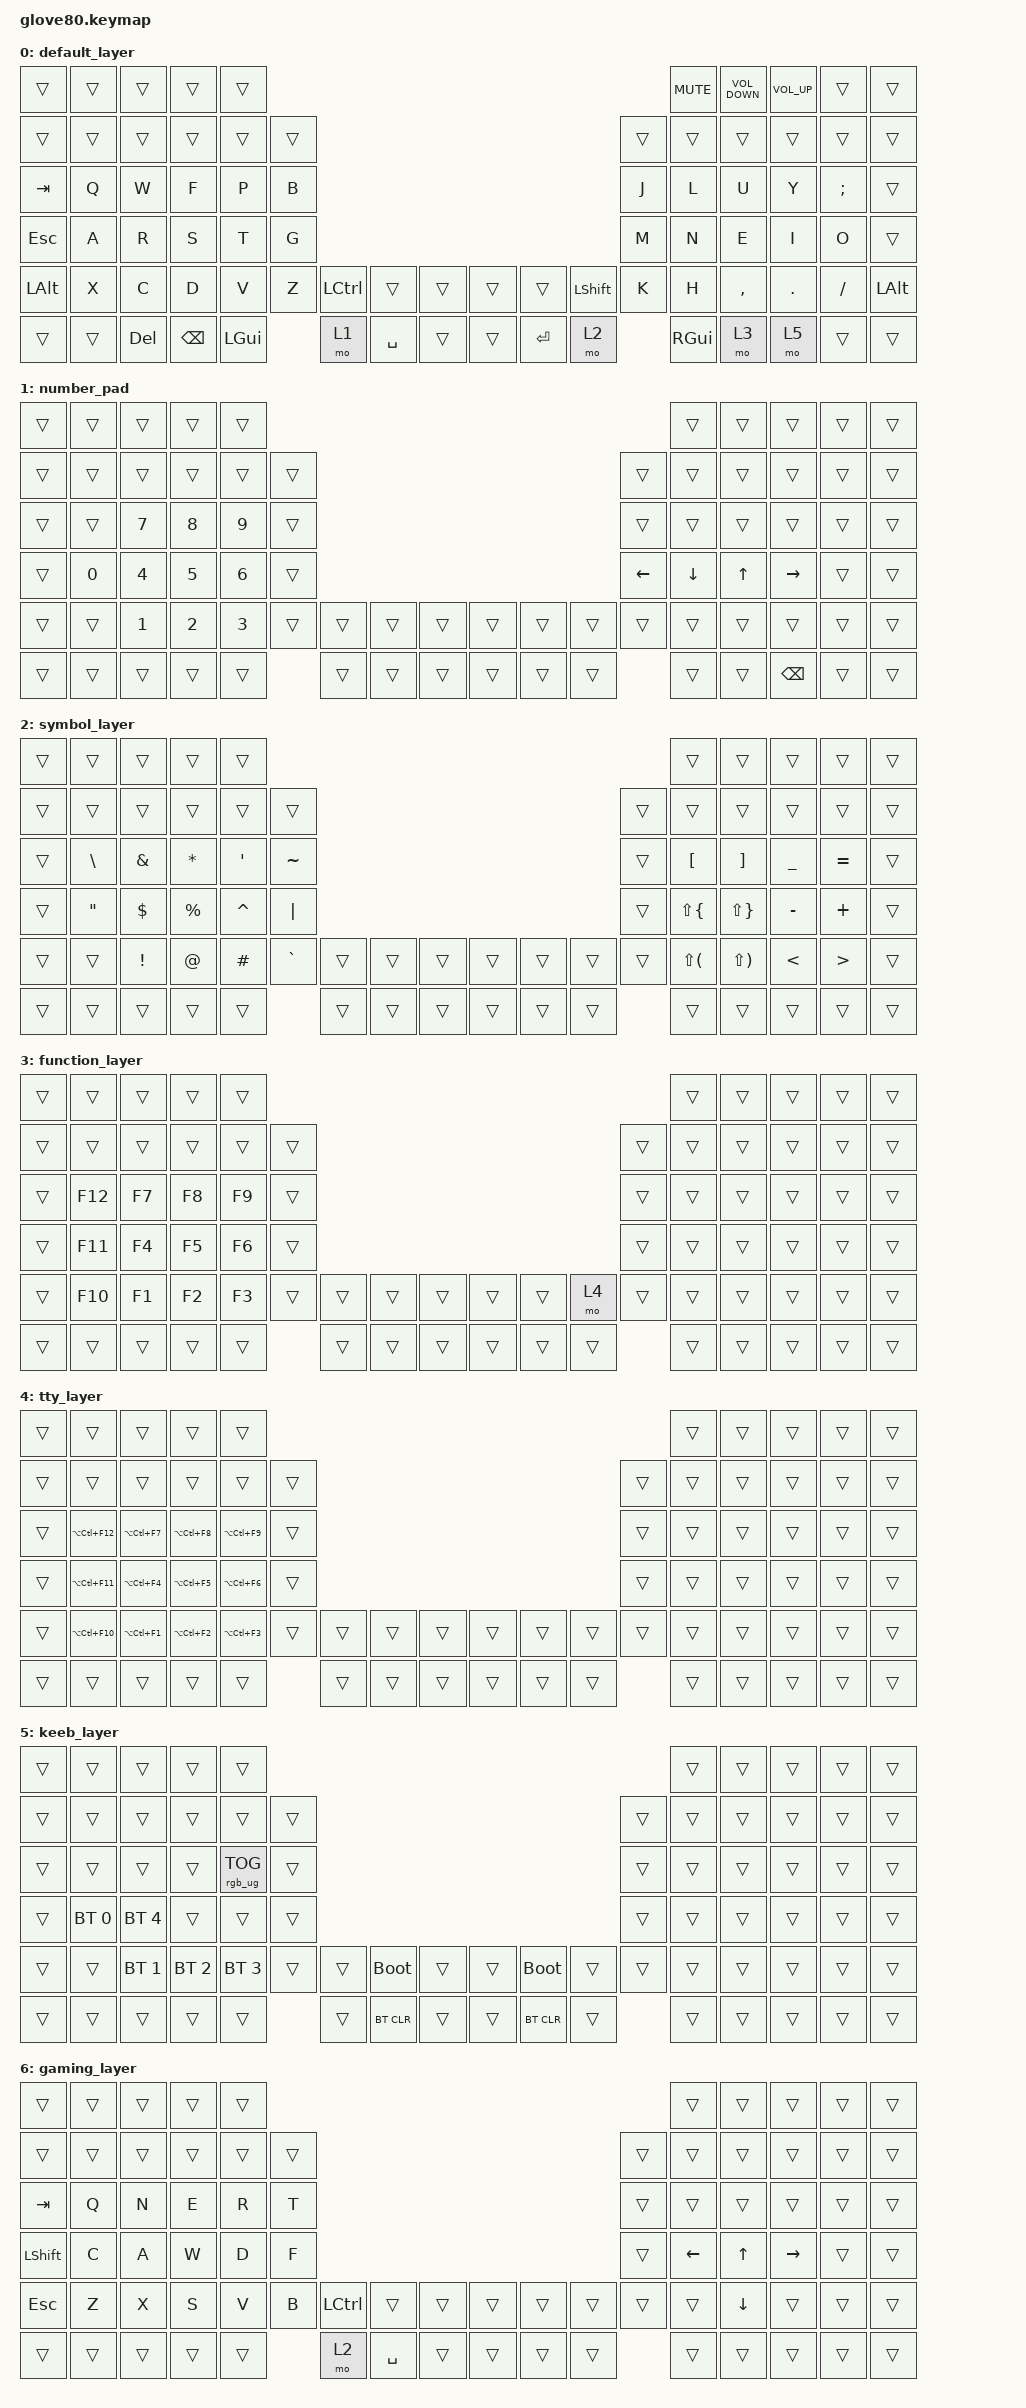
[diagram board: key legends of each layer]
/*
 * Copyright (c) 2020 The ZMK Contributors
 *
 * SPDX-License-Identifier: MIT
 */

#include <behaviors.dtsi>
#include <dt-bindings/zmk/bt.h>
#include <dt-bindings/zmk/keys.h>
#include <dt-bindings/zmk/rgb.h>

// layers

#define DEFAULT 0
#define LOWER 1
#define MAGIC 2

/ {
    behaviors {
        // For the "layer" key, it'd nice to be able to use it as either a shift or a toggle.
        // Configure it as a tap dance, so the first tap (or hold) is a &mo and the second tap is a &to

        layer_td: tap_dance_0 {
            compatible = "zmk,behavior-tap-dance";
            #binding-cells = <0>;
            tapping-term-ms = <200>;
            bindings = <&mo 0>, <&to 0>;
        };
    };

    combos {
        compatible = "zmk,combos";

        toGamingLayer {
            bindings = <&tog 3>;
            key-positions = <64 79>;
        };
    };

    keymap {
        compatible = "zmk,keymap";

        default_layer {
            bindings = <
&trans    &trans  &trans      &trans         &trans                                                                                                  &kp C_MUTE     &kp C_VOLUME_DOWN  &kp C_VOLUME_UP  &trans    &trans
&trans    &trans  &trans      &trans         &trans        &trans                                                                            &trans  &trans         &trans             &trans           &trans    &trans
&kp TAB   &kp Q   &kp W       &kp F          &kp P         &kp B                                                                             &kp J   &kp L          &kp U              &kp Y            &kp SEMI  &trans
&kp ESC   &kp A   &kp R       &kp S          &kp T         &kp G                                                                             &kp M   &kp N          &kp E              &kp I            &kp O     &trans
&kp LALT  &kp X   &kp C       &kp D          &kp V         &kp Z   &kp LEFT_CONTROL  &trans     &trans    &trans  &trans     &kp LEFT_SHIFT  &kp K   &kp H          &kp COMMA          &kp DOT          &kp FSLH  &kp LALT
&trans    &trans  &kp DELETE  &kp BACKSPACE  &kp LEFT_GUI          &mo 1             &kp SPACE  &trans    &trans  &kp ENTER  &mo 2                   &kp RIGHT_GUI  &mo 3              &mo 5            &trans    &trans
            >;
        };

        number_pad {
            bindings = <
&trans  &trans  &trans  &trans  &trans                                                                      &trans    &trans  &trans         &trans  &trans
&trans  &trans  &trans  &trans  &trans  &trans                                                    &trans    &trans    &trans  &trans         &trans  &trans
&trans  &trans  &kp N7  &kp N8  &kp N9  &trans                                                    &trans    &trans    &trans  &trans         &trans  &trans
&trans  &kp N0  &kp N4  &kp N5  &kp N6  &trans                                                    &kp LEFT  &kp DOWN  &kp UP  &kp RIGHT      &trans  &trans
&trans  &trans  &kp N1  &kp N2  &kp N3  &trans  &trans  &trans  &trans    &trans  &trans  &trans  &trans    &trans    &trans  &trans         &trans  &trans
&trans  &trans  &trans  &trans  &trans          &trans  &trans  &trans    &trans  &trans  &trans            &trans    &trans  &kp BACKSPACE  &trans  &trans
            >;
        };

        symbol_layer {
            bindings = <
&trans  &trans             &trans           &trans       &trans                                                                          &trans        &trans        &trans         &trans            &trans
&trans  &trans             &trans           &trans       &trans     &trans                                                       &trans  &trans        &trans        &trans         &trans            &trans
&trans  &kp BACKSLASH      &kp AMPERSAND    &kp STAR     &kp SQT    &kp TILDE                                                    &trans  &kp LBKT      &kp RBKT      &kp UNDER      &kp EQUAL         &trans
&trans  &kp DOUBLE_QUOTES  &kp DOLLAR       &kp PERCENT  &kp CARET  &kp PIPE                                                     &trans  &kp LS(LBRC)  &kp LS(RBRC)  &kp MINUS      &kp PLUS          &trans
&trans  &trans             &kp EXCLAMATION  &kp AT_SIGN  &kp HASH   &kp GRAVE  &trans  &trans  &trans    &trans  &trans  &trans  &trans  &kp LS(LPAR)  &kp LS(RPAR)  &kp LESS_THAN  &kp GREATER_THAN  &trans
&trans  &trans             &trans           &trans       &trans                &trans  &trans  &trans    &trans  &trans  &trans          &trans        &trans        &trans         &trans            &trans
            >;
        };

        function_layer {
            bindings = <
&trans  &trans   &trans  &trans  &trans                                                                    &trans  &trans  &trans  &trans  &trans
&trans  &trans   &trans  &trans  &trans  &trans                                                    &trans  &trans  &trans  &trans  &trans  &trans
&trans  &kp F12  &kp F7  &kp F8  &kp F9  &trans                                                    &trans  &trans  &trans  &trans  &trans  &trans
&trans  &kp F11  &kp F4  &kp F5  &kp F6  &trans                                                    &trans  &trans  &trans  &trans  &trans  &trans
&trans  &kp F10  &kp F1  &kp F2  &kp F3  &trans  &trans  &trans  &trans    &trans  &trans  &mo 4   &trans  &trans  &trans  &trans  &trans  &trans
&trans  &trans   &trans  &trans  &trans          &trans  &trans  &trans    &trans  &trans  &trans          &trans  &trans  &trans  &trans  &trans
            >;
        };

        tty_layer {
            bindings = <
&trans  &trans           &trans          &trans          &trans                                                                            &trans  &trans  &trans  &trans  &trans
&trans  &trans           &trans          &trans          &trans          &trans                                                    &trans  &trans  &trans  &trans  &trans  &trans
&trans  &kp LA(LC(F12))  &kp LA(LC(F7))  &kp LA(LC(F8))  &kp LA(LC(F9))  &trans                                                    &trans  &trans  &trans  &trans  &trans  &trans
&trans  &kp LA(LC(F11))  &kp LA(LC(F4))  &kp LA(LC(F5))  &kp LA(LC(F6))  &trans                                                    &trans  &trans  &trans  &trans  &trans  &trans
&trans  &kp LA(LC(F10))  &kp LA(LC(F1))  &kp LA(LC(F2))  &kp LA(LC(F3))  &trans  &trans  &trans  &trans    &trans  &trans  &trans  &trans  &trans  &trans  &trans  &trans  &trans
&trans  &trans           &trans          &trans          &trans                  &trans  &trans  &trans    &trans  &trans  &trans          &trans  &trans  &trans  &trans  &trans
            >;
        };

        keeb_layer {
            bindings = <
&trans  &trans        &trans        &trans        &trans                                                                                       &trans  &trans  &trans  &trans  &trans
&trans  &trans        &trans        &trans        &trans           &trans                                                              &trans  &trans  &trans  &trans  &trans  &trans
&trans  &trans        &trans        &trans        &rgb_ug RGB_TOG  &trans                                                              &trans  &trans  &trans  &trans  &trans  &trans
&trans  &bt BT_SEL 0  &bt BT_SEL 4  &trans        &trans           &trans                                                              &trans  &trans  &trans  &trans  &trans  &trans
&trans  &trans        &bt BT_SEL 1  &bt BT_SEL 2  &bt BT_SEL 3     &trans  &trans  &bootloader  &trans    &trans  &bootloader  &trans  &trans  &trans  &trans  &trans  &trans  &trans
&trans  &trans        &trans        &trans        &trans                   &trans  &bt BT_CLR   &trans    &trans  &bt BT_CLR   &trans          &trans  &trans  &trans  &trans  &trans
            >;
        };

        gaming_layer {
            bindings = <
&trans     &trans  &trans  &trans  &trans                                                                          &trans    &trans        &trans     &trans  &trans
&trans     &trans  &trans  &trans  &trans  &trans                                                          &trans  &trans    &trans        &trans     &trans  &trans
&kp TAB    &kp Q   &kp N   &kp E   &kp R   &kp T                                                           &trans  &trans    &trans        &trans     &trans  &trans
&kp LSHFT  &kp C   &kp A   &kp W   &kp D   &kp F                                                           &trans  &kp LEFT  &kp UP_ARROW  &kp RIGHT  &trans  &trans
&kp ESC    &kp Z   &kp X   &kp S   &kp V   &kp B   &kp LCTRL  &trans     &trans    &trans  &trans  &trans  &trans  &trans    &kp DOWN      &trans     &trans  &trans
&trans     &trans  &trans  &trans  &trans          &mo 2      &kp SPACE  &trans    &trans  &trans  &trans          &trans    &trans        &trans     &trans  &trans
            >;
        };
    };
};
